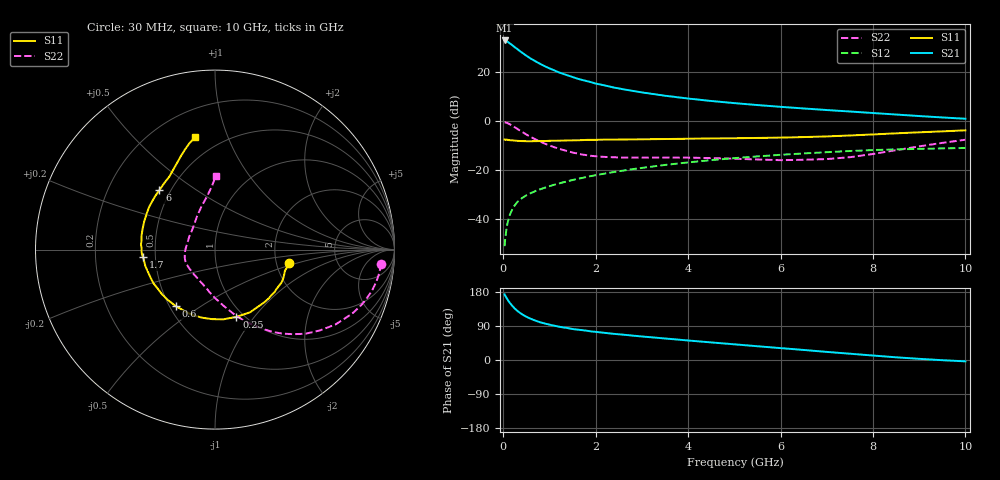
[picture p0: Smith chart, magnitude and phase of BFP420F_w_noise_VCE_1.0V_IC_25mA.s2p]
! Infineon Technologies  Discrete & RF Semiconductors
! BFP420F
! VCE =  1.0 V,  IC =  25 mA
! Common Emitter S-Parameters:  Sep 2011
# GHz  S  MA  R  50
!  f  S11  S21  S12  S22
! GHz  MAG  ANG  MAG  ANG  MAG  ANG  MAG  ANG
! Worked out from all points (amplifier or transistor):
!   54 points, 30 MHz to 10 GHz, reference 50 ohm
!   highest |S21| = 32.7 dB at 30 MHz (marker M1)
!   |S21| within 3 dB of that: start of sweep to 268.6 MHz
!   unconditionally stable (mu >= 1): 1.458 GHz to end of sweep
!   at 120 MHz: K = 0.32, MSG = 35.8 dB, |S12| = -39.7 dB
!   at 1.3 GHz: K = 0.96, MSG = 22.1 dB, |S12| = -25.1 dB
!   at 10 GHz: K = 1.22, MAG = 3.1 dB, |S12| = -11.1 dB
!   lowest NFmin = 1.66 dB at 450 MHz
!   S11 on the Smith chart (normalised r, x): 30 MHz: 2.34, -0.41; 250 MHz: 0.92, -0.82; 600 MHz: 0.54, -0.40; 1.7 GHz: 0.43, -0.04; 6 GHz: 0.43, +0.36; 10 GHz: 0.36, +0.77
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0.03  0.4169 -10.0  43.14 173.0  0.0028 86.8  0.9275 -4.9
0.07  0.4131 -23.5  41.85 164.4  0.0062 84.7  0.9126 -12.3
0.08  0.4137 -26.4  41.12 162.2  0.0072 82.7  0.906 -14.1
0.12  0.4041 -39.2  39.16 154.4  0.0104 77.8  0.872 -20.7
0.15  0.4014 -47.6  37.22 149.5  0.0126 75.7  0.8419 -25.2
0.2  0.4002 -60.7  34.31 142.3  0.016 72.3  0.7902 -31.9
0.25  0.3933 -72.3  31.45 135.8  0.019 69.4  0.7368 -37.7
0.3  0.3913 -83.1  29.07 130.3  0.0219 66.8  0.6887 -42.9
0.4  0.3861 -100.3  24.61 121.2  0.0264 63.8  0.5997 -51.3
0.5  0.3834 -113.5  21.14 114.2  0.0303 61.9  0.5256 -58.0
0.6  0.3833 -124.5  18.34 108.5  0.0337 60.9  0.4648 -63.8
0.8  0.3862 -140.4  14.38 99.5  0.0403 60.1  0.3768 -73.4
1  0.3909 -151.2  11.67 93.3  0.0466 60.2  0.3146 -81.7
1.3  0.3949 -163.1  8.991 86.0  0.0559 60.0  0.2536 -93.3
1.7  0.4031 -174.2  6.814 78.9  0.0684 59.8  0.206 -108.6
2.4  0.4127 172.6  4.736 68.9  0.0907 57.9  0.1805 -131.2
3.5  0.4248 158.0  3.236 56.8  0.126 53.3  0.1779 -151.9
5.5  0.447 138.3  2.088 36.3  0.1884 40.7  0.1629 176.4
6  0.4538 133.1  1.923 31.4  0.2028 37.3  0.1577 165.7
7  0.48 121.9  1.654 21.4  0.2295 30.1  0.166 141.4
8.5  0.5549 110.0  1.339 7.1  0.2615 18.6  0.2524 107.3
10  0.6382 99.9  1.1 -3.6  0.2795 9.5  0.4112 89.4
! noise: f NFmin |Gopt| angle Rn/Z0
0.45  1.66  0.23  -177  0.1
0.9  1.68  0.25  -175  0.13
1.9  1.81  0.32  -166  0.14
2.4  1.87  0.32  -160  0.12
3.5  2.1  0.32  -151  0.17
